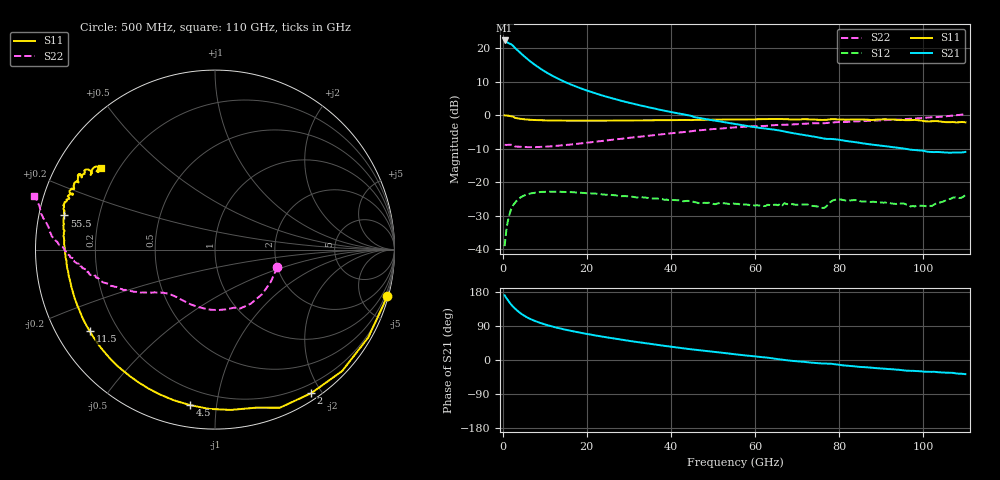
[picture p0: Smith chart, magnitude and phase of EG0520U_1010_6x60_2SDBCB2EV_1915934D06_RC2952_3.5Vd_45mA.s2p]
!File name = EG0520U_1010_6x60_2SDBCB2EV_1915934D06_RC2952_3.5Vd_45mA.s2p
!Base file name = EG0520U_1010_6x60_2SDBCB2EV_1915934D06_RC2952
!Date = 8/23/2019
!Time = 1:16 PM
!Test duration(min) = 0.15
!Test = S-Parameters
!MPTS version = 8.91.5
!State File = C:\Data\PNA\20190821205423\S-Parameters_2019-08-23.sta
!Cal File =
!ComputerName = CMPE-LAB-6
!Comments =
!Attenuation = 0
!Z0 = 50
!Input Power(dBm) = -13.00
!Device ID = EG0520U_1010_6x60_2SDBCB2EV
!Row = 29
!Column = 52
!Technology = QPHT09
!Lot/Wafer = 1915934D06
!Gate Size = 360
!Mask = EG0520
!Cal Standards = GaAs BCB
!Cal Kit = EG2306
!Job Number = 20190821205423
!Device Type = FET
!set_Vg(v) = -1.500
!set_Vd(v) = 3.500
!set_Vd(mA) = 45.000
!file_name = EG0520U_1010_6x60_2SDBCB2EV_1915934D06_RC2952_3.5Vd_45mA.s2p
!Vd(V) = 3.500
!Vd(mA) = 45.121
!Vg(V) = -0.473
!Vg(mA) = -0.002
# GHz  S  DB  R  50
!%	Freq(GHz)  s11(dB)  s11(deg)  s21(dB)  s21(deg)  s12(dB)  s12(deg)  s22(dB)  s22(deg)
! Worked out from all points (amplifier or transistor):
!   220 points, 500 MHz to 110 GHz, reference 50 ohm
!   highest |S21| = 22.3 dB at 500 MHz (marker M1)
!   |S21| within 3 dB of that: start of sweep to 3.633 GHz
!   unconditionally stable (mu >= 1): 30.95 GHz to 102.3 GHz
!   at 18.5 GHz: K = 0.57, MSG = 15.6 dB, |S12| = -23.1 dB
!   at 55.5 GHz: K = 1.58, MAG = 7.4 dB, |S12| = -26.5 dB
!   at 110 GHz: K = -1.89, MSG = 6.5 dB, |S12| = -23.9 dB
!   S11 on the Smith chart (normalised r, x): 500 MHz: 0.16, -7.54; 2 GHz: 0.08, -1.87; 4.5 GHz: 0.11, -0.85; 11.5 GHz: 0.10, -0.29; 55.5 GHz: 0.08, +0.11; 110 GHz: 0.14, +0.32
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0.5  -0.05 -15.1  22.32 170.8  -39.14 81.1  -8.86 -15.6
1  -0.14 -29.8  21.87 162.1  -33.38 73.2  -8.89 -29.8
2  -0.33 -56.2  21.22 147.1  -28.27 58.8  -8.84 -56.6
2.5  -0.42 -67.7  20.76 140.6  -26.91 53.0  -8.95 -67.2
3  -0.82 -75.5  20.06 135.4  -26.11 48.6  -9.35 -71.5
3.5  -0.94 -84.3  19.48 130.3  -25.38 44.1  -9.40 -79.5
4.5  -1.13 -99.1  18.33 121.6  -24.40 36.8  -9.47 -92.9
5  -1.21 -105.2  17.76 118.0  -24.08 33.7  -9.51 -98.3
6  -1.33 -115.6  16.68 111.5  -23.61 28.7  -9.54 -107.1
7.5  -1.44 -127.4  15.20 103.8  -23.21 22.9  -9.52 -116.8
9.5  -1.52 -138.6  13.49 95.9  -22.91 17.3  -9.45 -124.7
11.5  -1.59 -146.9  12.01 89.3  -22.85 13.2  -9.31 -130.4
15  -1.64 -156.9  9.84 79.9  -22.96 8.3  -8.93 -136.7
19  -1.66 -164.8  7.83 70.9  -23.20 4.3  -8.38 -141.0
26.5  -1.62 -174.3  4.87 56.6  -23.90 1.0  -7.27 -146.4
37  -1.50 177.6  1.74 39.4  -24.93 0.9  -5.81 -152.9
55.5  -1.30 167.3  -2.68 14.9  -26.50 7.3  -3.63 -164.6
73.5  -1.28 159.1  -6.32 -7.1  -27.08 7.5  -2.42 -173.1
80  -1.29 156.9  -7.36 -12.9  -25.14 9.7  -2.07 -175.6
92  -1.29 150.9  -9.44 -24.0  -26.25 -4.3  -1.44 179.2
101  -1.85 149.0  -10.94 -31.1  -27.27 -3.1  -0.70 174.2
110  -2.14 144.3  -10.97 -37.4  -23.92 -5.8  0.42 163.5
